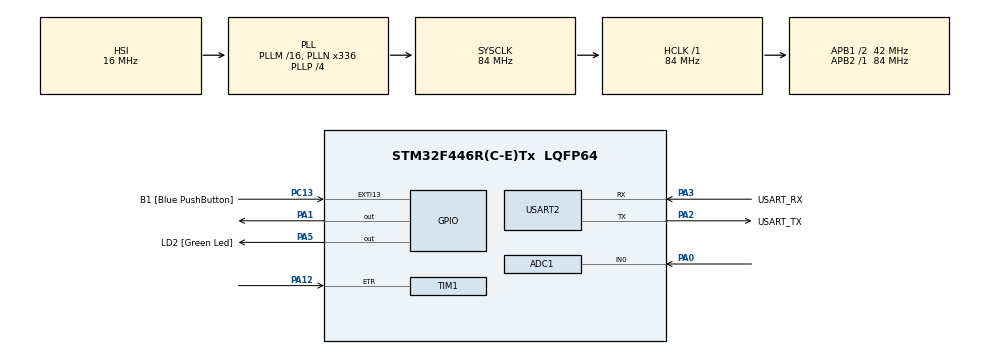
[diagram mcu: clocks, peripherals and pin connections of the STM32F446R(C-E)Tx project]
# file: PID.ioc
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ADC1.Channel-0\#ChannelRegularConversion=ADC_CHANNEL_0
ADC1.NbrOfConversionFlag=1
ADC1.Rank-0\#ChannelRegularConversion=1
ADC1.Resolution=ADC_RESOLUTION_10B
ADC1.SamplingTime-0\#ChannelRegularConversion=ADC_SAMPLETIME_3CYCLES
ADC1.master=1
Mcu.Family=STM32F4
Mcu.Name=STM32F446R(C-E)Tx
Mcu.Package=LQFP64
NVIC.PriorityGroup=NVIC_PRIORITYGROUP_0
NVIC.TIM1_UP_TIM10_IRQn=true\:0\:0\:false\:false\:true\:true\:true\:true
NVIC.USART2_IRQn=true\:0\:0\:false\:false\:true\:true\:true\:true
PA0-WKUP.Signal=ADCx_IN0
PA1.Signal=GPIO_Output
PA12.Signal=S_TIM1_ETR
PA13.GPIO_Label=TMS
PA13.Mode=Serial_Wire
PA13.Signal=SYS_JTMS-SWDIO
PA14.GPIO_Label=TCK
PA14.Mode=Serial_Wire
PA14.Signal=SYS_JTCK-SWCLK
PA2.GPIO_Label=USART_TX
PA2.Mode=Asynchronous
PA2.Signal=USART2_TX
PA3.GPIO_Label=USART_RX
PA3.Mode=Asynchronous
PA3.Signal=USART2_RX
PA5.GPIO_Label=LD2 [Green Led]
PA5.Signal=GPIO_Output
PB3.GPIO_Label=SWO
PB3.Signal=SYS_JTDO-SWO
PC13.GPIO_Label=B1 [Blue PushButton]
PC13.GPIO_ModeDefaultEXTI=GPIO_MODE_IT_FALLING
PC13.Signal=GPXTI13
PC14-OSC32_IN.Mode=LSE-External-Oscillator
PC14-OSC32_IN.Signal=RCC_OSC32_IN
PC15-OSC32_OUT.Mode=LSE-External-Oscillator
PC15-OSC32_OUT.Signal=RCC_OSC32_OUT
PH0-OSC_IN.Mode=HSE-External-Oscillator
PH0-OSC_IN.Signal=RCC_OSC_IN
PH1-OSC_OUT.Mode=HSE-External-Oscillator
PH1-OSC_OUT.Signal=RCC_OSC_OUT
ProjectManager.HeapSize=0x200
ProjectManager.StackSize=0x400
ProjectManager.TargetToolchain=STM32CubeIDE
RCC.48MHZClocksFreq_Value=84000000
RCC.AHBFreq_Value=84000000
RCC.APB1CLKDivider=RCC_HCLK_DIV2
RCC.APB1Freq_Value=42000000
RCC.APB1TimFreq_Value=84000000
RCC.APB2Freq_Value=84000000
RCC.APB2TimFreq_Value=84000000
RCC.CortexFreq_Value=84000000
RCC.FLatency-AdvancedSettings=FLASH_LATENCY_2
RCC.HCLKFreq_Value=84000000
RCC.HSE_VALUE=8000000
RCC.HSI_VALUE=16000000
RCC.PLLN=336
RCC.PLLP=RCC_PLLP_DIV4
RCC.SYSCLKFreq_VALUE=84000000
RCC.SYSCLKSource=RCC_SYSCLKSOURCE_PLLCLK
RCC.USBFreq_Value=168000000
RCC.VCOOutputFreq_Value=336000000
SH.ADCx_IN0.0=ADC1_IN0,IN0
SH.S_TIM1_ETR.0=TIM1_ETR,TriggerSource_ETR
TIM1.Period=179
TIM1.Prescaler=3872
TIM10.Period=2499
TIM10.Prescaler=4199
USART2.VirtualMode=VM_ASYNC
VP_TIM10_VS_ClockSourceINT.Mode=Enable_Timer
VP_TIM1_VS_ClockSourceINT.Mode=Internal
VP_TIM1_VS_ControllerModeTrigger.Mode=Trigger Mode
VP_TIM1_VS_OPM.Mode=OPM_bit
board=NUCLEO-F446RE

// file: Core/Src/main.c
/* USER CODE BEGIN Header */
/**
  ******************************************************************************
  * @file           : main.c
  * @brief          : Main program body
  ******************************************************************************
  * @attention
  *
  * Copyright (c) 2022 STMicroelectronics.
  * All rights reserved.
  *
  * This software is licensed under terms that can be found in the LICENSE file
  * in the root directory of this software component.
  * If no LICENSE file comes with this software, it is provided AS-IS.
  *
  ******************************************************************************
  */
/* USER CODE END Header */
#include "main.h"

ADC_HandleTypeDef hadc1;

TIM_HandleTypeDef htim1;
TIM_HandleTypeDef htim10;

UART_HandleTypeDef huart2;

/* USER CODE BEGIN PV */

float ad=0;
float tensao_ad_conv=0;
int angulo_subida=170;
int angulo_descida = 0;
float tensao_temperatura = 0;
int temperatura=0;
float erro=0;
float constante=1;
float i=0;
int arr=0;
char rx[2];
char msg[6];
int temp = 0;
float realTemp;
/* USER CODE END PV */

void SystemClock_Config(void);
static void MX_GPIO_Init(void);
static void MX_USART2_UART_Init(void);
static void MX_ADC1_Init(void);
static void MX_TIM10_Init(void);
static void MX_TIM1_Init(void);

int main(void)
{

  /* MCU Configuration--------------------------------------------------------*/

  /* Reset of all peripherals, Initializes the Flash interface and the Systick. */
  HAL_Init();

  /* Configure the system clock */
  SystemClock_Config();

  /* Initialize all configured peripherals */
  MX_GPIO_Init();
  MX_USART2_UART_Init();
  MX_ADC1_Init();
  MX_TIM10_Init();
  MX_TIM1_Init();
  /* USER CODE BEGIN 2 */
  HAL_TIM_Base_Start_IT(&htim10);
  HAL_TIM_Base_Start(&htim1);

  /* USER CODE END 2 */

  /* Infinite loop */
  while (1)
  {

    /* USER CODE BEGIN 3 */
	  HAL_UART_Receive_IT(&huart2, &rx, sizeof(rx));
	  //Receiving command from Tago.io

	  HAL_ADC_Start(&hadc1);
	  ad = HAL_ADC_GetValue(&hadc1);
	  tensao_ad_conv = (ad/310);
	  //Measuring AD Voltage

	  angulo_descida = (angulo_subida + 5);
	  //Pulse width
	  erro = (tensao_temperatura - tensao_ad_conv);
	  //Error feedback

	  arr = __HAL_TIM_GET_COUNTER(&htim1);

	  if(arr>=angulo_subida && arr<=angulo_descida)
	  {
		  HAL_GPIO_WritePin(GPIOA, GPIO_PIN_1, GPIO_PIN_SET);
	  }

	  else
	  {
		  HAL_GPIO_WritePin(GPIOA, GPIO_PIN_1, GPIO_PIN_RESET);
	  }

	  if(erro>0)
	  {
		  constante = 5;
	  }
	  //Pulse movimentation and constant adjusting

  }
  /* USER CODE END 3 */
}

void SystemClock_Config(void)
{
  RCC_OscInitTypeDef RCC_OscInitStruct = {0};
  RCC_ClkInitTypeDef RCC_ClkInitStruct = {0};

  /** Configure the main internal regulator output voltage
  */
  __HAL_RCC_PWR_CLK_ENABLE();
  __HAL_PWR_VOLTAGESCALING_CONFIG(PWR_REGULATOR_VOLTAGE_SCALE3);

  /** Initializes the RCC Oscillators according to the specified parameters
  * in the RCC_OscInitTypeDef structure.
  */
  RCC_OscInitStruct.OscillatorType = RCC_OSCILLATORTYPE_HSI;
  RCC_OscInitStruct.HSIState = RCC_HSI_ON;
  RCC_OscInitStruct.HSICalibrationValue = RCC_HSICALIBRATION_DEFAULT;
  RCC_OscInitStruct.PLL.PLLState = RCC_PLL_ON;
  RCC_OscInitStruct.PLL.PLLSource = RCC_PLLSOURCE_HSI;
  RCC_OscInitStruct.PLL.PLLM = 16;
  RCC_OscInitStruct.PLL.PLLN = 336;
  RCC_OscInitStruct.PLL.PLLP = RCC_PLLP_DIV4;
  RCC_OscInitStruct.PLL.PLLQ = 2;
  RCC_OscInitStruct.PLL.PLLR = 2;
  if (HAL_RCC_OscConfig(&RCC_OscInitStruct) != HAL_OK)
  {
    Error_Handler();
  }

  /** Initializes the CPU, AHB and APB buses clocks
  */
  RCC_ClkInitStruct.ClockType = RCC_CLOCKTYPE_HCLK|RCC_CLOCKTYPE_SYSCLK
                              |RCC_CLOCKTYPE_PCLK1|RCC_CLOCKTYPE_PCLK2;
  RCC_ClkInitStruct.SYSCLKSource = RCC_SYSCLKSOURCE_PLLCLK;
  RCC_ClkInitStruct.AHBCLKDivider = RCC_SYSCLK_DIV1;
  RCC_ClkInitStruct.APB1CLKDivider = RCC_HCLK_DIV2;
  RCC_ClkInitStruct.APB2CLKDivider = RCC_HCLK_DIV1;

  if (HAL_RCC_ClockConfig(&RCC_ClkInitStruct, FLASH_LATENCY_2) != HAL_OK)
  {
    Error_Handler();
  }
}

static void MX_ADC1_Init(void)
{

  ADC_ChannelConfTypeDef sConfig = {0};

  /** Configure the global features of the ADC (Clock, Resolution, Data Alignment and number of conversion)
  */
  hadc1.Instance = ADC1;
  hadc1.Init.ClockPrescaler = ADC_CLOCK_SYNC_PCLK_DIV4;
  hadc1.Init.Resolution = ADC_RESOLUTION_10B;
  hadc1.Init.ScanConvMode = DISABLE;
  hadc1.Init.ContinuousConvMode = DISABLE;
  hadc1.Init.DiscontinuousConvMode = DISABLE;
  hadc1.Init.ExternalTrigConvEdge = ADC_EXTERNALTRIGCONVEDGE_NONE;
  hadc1.Init.ExternalTrigConv = ADC_SOFTWARE_START;
  hadc1.Init.DataAlign = ADC_DATAALIGN_RIGHT;
  hadc1.Init.NbrOfConversion = 1;
  hadc1.Init.DMAContinuousRequests = DISABLE;
  hadc1.Init.EOCSelection = ADC_EOC_SINGLE_CONV;
  if (HAL_ADC_Init(&hadc1) != HAL_OK)
  {
    Error_Handler();
  }

  /** Configure for the selected ADC regular channel its corresponding rank in the sequencer and its sample time.
  */
  sConfig.Channel = ADC_CHANNEL_0;
  sConfig.Rank = 1;
  sConfig.SamplingTime = ADC_SAMPLETIME_3CYCLES;
  if (HAL_ADC_ConfigChannel(&hadc1, &sConfig) != HAL_OK)
  {
    Error_Handler();
  }

}

static void MX_TIM1_Init(void)
{

  TIM_ClockConfigTypeDef sClockSourceConfig = {0};
  TIM_SlaveConfigTypeDef sSlaveConfig = {0};
  TIM_MasterConfigTypeDef sMasterConfig = {0};

  htim1.Instance = TIM1;
  htim1.Init.Prescaler = 3872;
  htim1.Init.CounterMode = TIM_COUNTERMODE_UP;
  htim1.Init.Period = 179;
  htim1.Init.ClockDivision = TIM_CLOCKDIVISION_DIV1;
  htim1.Init.RepetitionCounter = 0;
  htim1.Init.AutoReloadPreload = TIM_AUTORELOAD_PRELOAD_DISABLE;
  if (HAL_TIM_Base_Init(&htim1) != HAL_OK)
  {
    Error_Handler();
  }
  sClockSourceConfig.ClockSource = TIM_CLOCKSOURCE_INTERNAL;
  if (HAL_TIM_ConfigClockSource(&htim1, &sClockSourceConfig) != HAL_OK)
  {
    Error_Handler();
  }
  if (HAL_TIM_OnePulse_Init(&htim1, TIM_OPMODE_SINGLE) != HAL_OK)
  {
    Error_Handler();
  }
  sSlaveConfig.SlaveMode = TIM_SLAVEMODE_TRIGGER;
  sSlaveConfig.InputTrigger = TIM_TS_ETRF;
  sSlaveConfig.TriggerPolarity = TIM_TRIGGERPOLARITY_NONINVERTED;
  sSlaveConfig.TriggerPrescaler = TIM_TRIGGERPRESCALER_DIV1;
  sSlaveConfig.TriggerFilter = 0;
  if (HAL_TIM_SlaveConfigSynchro(&htim1, &sSlaveConfig) != HAL_OK)
  {
    Error_Handler();
  }
  sMasterConfig.MasterOutputTrigger = TIM_TRGO_RESET;
  sMasterConfig.MasterSlaveMode = TIM_MASTERSLAVEMODE_DISABLE;
  if (HAL_TIMEx_MasterConfigSynchronization(&htim1, &sMasterConfig) != HAL_OK)
  {
    Error_Handler();
  }

}

static void MX_TIM10_Init(void)
{

  htim10.Instance = TIM10;
  htim10.Init.Prescaler = 4199;
  htim10.Init.CounterMode = TIM_COUNTERMODE_UP;
  htim10.Init.Period = 2499;
  htim10.Init.ClockDivision = TIM_CLOCKDIVISION_DIV1;
  htim10.Init.AutoReloadPreload = TIM_AUTORELOAD_PRELOAD_DISABLE;
  if (HAL_TIM_Base_Init(&htim10) != HAL_OK)
  {
    Error_Handler();
  }

}

static void MX_USART2_UART_Init(void)
{

  huart2.Instance = USART2;
  huart2.Init.BaudRate = 115200;
  huart2.Init.WordLength = UART_WORDLENGTH_8B;
  huart2.Init.StopBits = UART_STOPBITS_1;
  huart2.Init.Parity = UART_PARITY_NONE;
  huart2.Init.Mode = UART_MODE_TX_RX;
  huart2.Init.HwFlowCtl = UART_HWCONTROL_NONE;
  huart2.Init.OverSampling = UART_OVERSAMPLING_16;
  if (HAL_UART_Init(&huart2) != HAL_OK)
  {
    Error_Handler();
  }

}

static void MX_GPIO_Init(void)
{
  GPIO_InitTypeDef GPIO_InitStruct = {0};

  /* GPIO Ports Clock Enable */
  __HAL_RCC_GPIOC_CLK_ENABLE();
  __HAL_RCC_GPIOH_CLK_ENABLE();
  __HAL_RCC_GPIOA_CLK_ENABLE();
  __HAL_RCC_GPIOB_CLK_ENABLE();

  /*Configure GPIO pin Output Level */
  HAL_GPIO_WritePin(GPIOA, GPIO_PIN_1|LD2_Pin, GPIO_PIN_RESET);

  /*Configure GPIO pin : B1_Pin */
  GPIO_InitStruct.Pin = B1_Pin;
  GPIO_InitStruct.Mode = GPIO_MODE_IT_FALLING;
  GPIO_InitStruct.Pull = GPIO_NOPULL;
  HAL_GPIO_Init(B1_GPIO_Port, &GPIO_InitStruct);

  /*Configure GPIO pins : PA1 LD2_Pin */
  GPIO_InitStruct.Pin = GPIO_PIN_1|LD2_Pin;
  GPIO_InitStruct.Mode = GPIO_MODE_OUTPUT_PP;
  GPIO_InitStruct.Pull = GPIO_NOPULL;
  GPIO_InitStruct.Speed = GPIO_SPEED_FREQ_LOW;
  HAL_GPIO_Init(GPIOA, &GPIO_InitStruct);

}

/* USER CODE BEGIN 4 */

	void HAL_UART_RxCpltCallback(UART_HandleTypeDef *huart)
	{
		temp = (((rx[0]-'0')*10) + (rx[1]-'0'));
		tensao_temperatura = (-0.0349 * temp) + 3.36;
		//NTC Tendency line
	}
	//Receiving and decoding information from USART

	void HAL_UART_TxCpltCallback(UART_HandleTypeDef *huart)
	{}

	void HAL_TIM_PeriodElapsedCallback(TIM_HandleTypeDef *htim)
	{
		realTemp = (tensao_ad_conv - 3.36) / -0.0349;
		sprintf(msg,"%.1f\r\n",realTemp);
		HAL_UART_Transmit_IT(&huart2, msg, sizeof(msg));
		//Transmiting information from actual temperature on Thermical Chamber
		i+=0.125;

		if(angulo_subida>=30 && angulo_subida<=170)
		{
			if(erro<0)
			{
				angulo_subida+=((erro*constante));
			}
			else if(erro>0)
			{
				angulo_subida+=((erro*constante)*10);
			}
		}
		else if(angulo_subida<30)
		{
			angulo_subida=30;
		}

		else if(angulo_subida>170)
		{
			angulo_subida=170;
		}
		//Pulse manipulation
	}

/* USER CODE END 4 */

void Error_Handler(void)
{
  __disable_irq();
  while (1)
  {
  }
}
